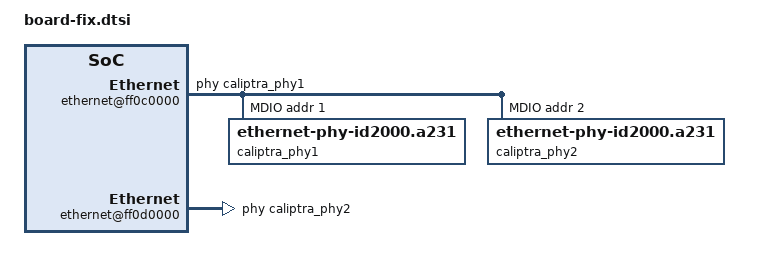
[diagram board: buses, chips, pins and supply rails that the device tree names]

&{/axi/ethernet@ff0c0000} {
    phy-handle = <&caliptra_phy1>;
    mdio {
        #address-cells = <1>;
        #size-cells = <0>;
        caliptra_phy1: ethernet-phy@1 {
            #phy-cells = <1>;
            compatible = "ethernet-phy-id2000.a231";
            reg = <1>;
            ti,rx-internal-delay = <0xb>;
            ti,tx-internal-delay = <0xa>;
            ti,fifo-depth = <1>;
            ti,dp83867-rxctrl-strap-quirk;
        };
        caliptra_phy2: ethernet-phy@2 {
            #phy-cells = <1>;
            compatible = "ethernet-phy-id2000.a231";
            reg = <2>;
            ti,rx-internal-delay = <0xb>;
            ti,tx-internal-delay = <0xa>;
            ti,fifo-depth = <1>;
            ti,dp83867-rxctrl-strap-quirk;
        };
    };
};
&{/axi/ethernet@ff0d0000} { phy-handle = <&caliptra_phy2>; };
/* No PCIe/MSI consumer is enabled in this Caliptra design. */
&{/axi/interrupt-controller@f9000000/msi-controller@f9020000} { status = "disabled"; };
